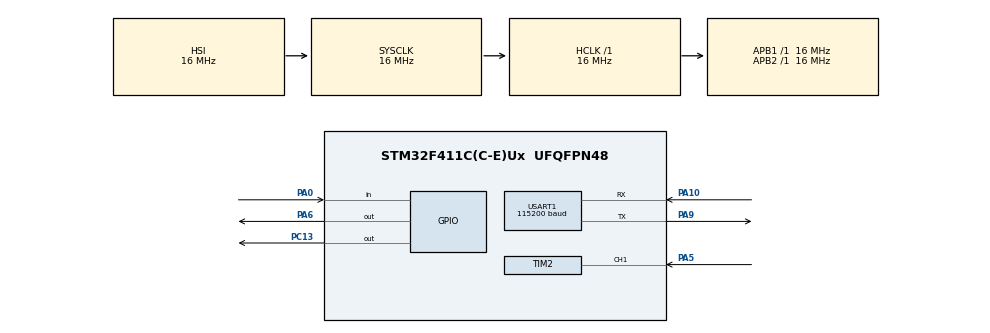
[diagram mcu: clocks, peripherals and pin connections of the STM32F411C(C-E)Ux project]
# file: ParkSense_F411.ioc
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Mcu.Family=STM32F4
Mcu.Name=STM32F411C(C-E)Ux
Mcu.Package=UFQFPN48
NVIC.PriorityGroup=NVIC_PRIORITYGROUP_4
NVIC.TIM2_IRQn=true\:0\:0\:false\:false\:true\:true\:true\:true
NVIC.USART1_IRQn=true\:0\:0\:false\:false\:true\:true\:true\:true
PA0-WKUP.GPIO_PuPd=GPIO_PULLUP
PA0-WKUP.Signal=GPIO_Input
PA10.Mode=Asynchronous
PA10.Signal=USART1_RX
PA5.Signal=S_TIM2_CH1_ETR
PA6.Signal=GPIO_Output
PA9.Mode=Asynchronous
PA9.Signal=USART1_TX
PC13-ANTI_TAMP.Signal=GPIO_Output
PH0\ -\ OSC_IN.Mode=HSE-External-Oscillator
PH0\ -\ OSC_IN.Signal=RCC_OSC_IN
PH1\ -\ OSC_OUT.Mode=HSE-External-Oscillator
PH1\ -\ OSC_OUT.Signal=RCC_OSC_OUT
ProjectManager.HeapSize=0x200
ProjectManager.StackSize=0x400
ProjectManager.TargetToolchain=STM32CubeIDE
RCC.AHBFreq_Value=16000000
RCC.APB1Freq_Value=16000000
RCC.APB2Freq_Value=16000000
RCC.CortexFreq_Value=16000000
RCC.HSE_VALUE=25000000
RCC.HSI_VALUE=16000000
RCC.LSE_VALUE=32768
RCC.SYSCLKFreq_VALUE=16000000
RCC.VCOOutputFreq_Value=192000000
SH.S_TIM2_CH1_ETR.0=TIM2_CH1,Input_Capture1_from_TI1
TIM2.Channel-Input_Capture1_from_TI1=TIM_CHANNEL_1
TIM2.Prescaler=16-1
USART1.BaudRate=115200
USART1.VirtualMode=VM_ASYNC
VP_TIM2_VS_ClockSourceINT.Mode=Internal
board=custom

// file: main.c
/* USER CODE BEGIN Header */
/**
  ******************************************************************************
  * @file           : main.c
  * @brief          : Main program body
  ******************************************************************************
  * @attention
  *
  * Copyright (c) 2024 STMicroelectronics.
  * All rights reserved.
  *
  * This software is licensed under terms that can be found in the LICENSE file
  * in the root directory of this software component.
  * If no LICENSE file comes with this software, it is provided AS-IS.
  *
  ******************************************************************************
  */
/* USER CODE END Header */
#include "main.h"

/* USER CODE BEGIN Includes */
#include "ESP8266.h"
#include "HCSR04.h"
/* USER CODE END Includes */

TIM_HandleTypeDef htim2;

UART_HandleTypeDef huart1;

/* USER CODE BEGIN PV */
float distance = 0.0;
uint8_t read_flag = TRUE, captured = FALSE;
uint8_t output, output_old;
uint32_t time;
/* USER CODE END PV */

void SystemClock_Config(void);
static void MX_GPIO_Init(void);
static void MX_TIM2_Init(void);
static void MX_USART1_UART_Init(void);

int main(void)
{

  /* MCU Configuration--------------------------------------------------------*/

  /* Reset of all peripherals, Initializes the Flash interface and the Systick. */
  HAL_Init();

  /* Configure the system clock */
  SystemClock_Config();

  /* Initialize all configured peripherals */
  MX_GPIO_Init();
  MX_TIM2_Init();
  MX_USART1_UART_Init();
  /* USER CODE BEGIN 2 */

  // Apagar LED inicialmente
  HAL_GPIO_WritePin(LED_PORT, LED_PIN, TRUE);

  // Iniciar timer ultrasonidos
  HCSR04_Init(&htim2);

  // Configurar ESP8266
  ESP8266_InitAsAP(&huart1);

  // Avisar de configuracion completada con LED
  for(int i = 0; i < 10; i++)
  {
	  HAL_GPIO_WritePin(LED_PORT, LED_PIN, i%2);
	  HAL_Delay(100);
  }

  /* USER CODE END 2 */

  /* Infinite loop */
  /* USER CODE BEGIN WHILE */
  while (1)
  {
	  // Mandar pulso de lectura si no se esta esperando el echo
	  if(read_flag) HCSR04_Read(&htim2);

	  // Comprobar si el estado ha cambiado
	  output_old = output;
//	  output = !HAL_GPIO_ReadPin(GPIOA, GPIO_PIN_0); // Botón placa
	  output = (uint8_t)(distance < DISTANCE_THRESHOLD); // Comparar distancia con umbral

	  // Si el estado ha cambiado iniciar timer de histeresis
	  if(output != output_old) time = HAL_GetTick();

	  if ((HAL_GetTick() - time) > HISTERESIS)
	  {
		  time = HAL_GetTick();
		  ESP8266_SendByte(output, &huart1);
	  }
	  // Encender LED en función del estado
	  HAL_GPIO_WritePin(LED_PORT, LED_PIN, !output);

    /* USER CODE END WHILE */

  }
}

void SystemClock_Config(void)
{
  RCC_OscInitTypeDef RCC_OscInitStruct = {0};
  RCC_ClkInitTypeDef RCC_ClkInitStruct = {0};

  /** Configure the main internal regulator output voltage
  */
  __HAL_RCC_PWR_CLK_ENABLE();
  __HAL_PWR_VOLTAGESCALING_CONFIG(PWR_REGULATOR_VOLTAGE_SCALE1);

  /** Initializes the RCC Oscillators according to the specified parameters
  * in the RCC_OscInitTypeDef structure.
  */
  RCC_OscInitStruct.OscillatorType = RCC_OSCILLATORTYPE_HSI;
  RCC_OscInitStruct.HSIState = RCC_HSI_ON;
  RCC_OscInitStruct.HSICalibrationValue = RCC_HSICALIBRATION_DEFAULT;
  RCC_OscInitStruct.PLL.PLLState = RCC_PLL_NONE;
  if (HAL_RCC_OscConfig(&RCC_OscInitStruct) != HAL_OK)
  {
    Error_Handler();
  }

  /** Initializes the CPU, AHB and APB buses clocks
  */
  RCC_ClkInitStruct.ClockType = RCC_CLOCKTYPE_HCLK|RCC_CLOCKTYPE_SYSCLK
                              |RCC_CLOCKTYPE_PCLK1|RCC_CLOCKTYPE_PCLK2;
  RCC_ClkInitStruct.SYSCLKSource = RCC_SYSCLKSOURCE_HSI;
  RCC_ClkInitStruct.AHBCLKDivider = RCC_SYSCLK_DIV1;
  RCC_ClkInitStruct.APB1CLKDivider = RCC_HCLK_DIV1;
  RCC_ClkInitStruct.APB2CLKDivider = RCC_HCLK_DIV1;

  if (HAL_RCC_ClockConfig(&RCC_ClkInitStruct, FLASH_LATENCY_0) != HAL_OK)
  {
    Error_Handler();
  }
}

static void MX_TIM2_Init(void)
{

  TIM_ClockConfigTypeDef sClockSourceConfig = {0};
  TIM_MasterConfigTypeDef sMasterConfig = {0};
  TIM_IC_InitTypeDef sConfigIC = {0};

  /* USER CODE BEGIN TIM2_Init 1 */
  __HAL_RCC_PWR_CLK_ENABLE();
  __HAL_RCC_TIM2_CLK_ENABLE();
  /* USER CODE END TIM2_Init 1 */
  htim2.Instance = TIM2;
  htim2.Init.Prescaler = 16-1;
  htim2.Init.CounterMode = TIM_COUNTERMODE_UP;
  htim2.Init.Period = 4294967295;
  htim2.Init.ClockDivision = TIM_CLOCKDIVISION_DIV1;
  htim2.Init.AutoReloadPreload = TIM_AUTORELOAD_PRELOAD_DISABLE;
  if (HAL_TIM_Base_Init(&htim2) != HAL_OK)
  {
    Error_Handler();
  }
  sClockSourceConfig.ClockSource = TIM_CLOCKSOURCE_INTERNAL;
  if (HAL_TIM_ConfigClockSource(&htim2, &sClockSourceConfig) != HAL_OK)
  {
    Error_Handler();
  }
  if (HAL_TIM_IC_Init(&htim2) != HAL_OK)
  {
    Error_Handler();
  }
  sMasterConfig.MasterOutputTrigger = TIM_TRGO_RESET;
  sMasterConfig.MasterSlaveMode = TIM_MASTERSLAVEMODE_DISABLE;
  if (HAL_TIMEx_MasterConfigSynchronization(&htim2, &sMasterConfig) != HAL_OK)
  {
    Error_Handler();
  }
  sConfigIC.ICPolarity = TIM_INPUTCHANNELPOLARITY_RISING;
  sConfigIC.ICSelection = TIM_ICSELECTION_DIRECTTI;
  sConfigIC.ICPrescaler = TIM_ICPSC_DIV1;
  sConfigIC.ICFilter = 0;
  if (HAL_TIM_IC_ConfigChannel(&htim2, &sConfigIC, TIM_CHANNEL_1) != HAL_OK)
  {
    Error_Handler();
  }

}

static void MX_USART1_UART_Init(void)
{

  huart1.Instance = USART1;
  huart1.Init.BaudRate = 115200;
  huart1.Init.WordLength = UART_WORDLENGTH_8B;
  huart1.Init.StopBits = UART_STOPBITS_1;
  huart1.Init.Parity = UART_PARITY_NONE;
  huart1.Init.Mode = UART_MODE_TX_RX;
  huart1.Init.HwFlowCtl = UART_HWCONTROL_NONE;
  huart1.Init.OverSampling = UART_OVERSAMPLING_16;
  if (HAL_UART_Init(&huart1) != HAL_OK)
  {
    Error_Handler();
  }

}

static void MX_GPIO_Init(void)
{
  GPIO_InitTypeDef GPIO_InitStruct = {0};

  /* GPIO Ports Clock Enable */
  __HAL_RCC_GPIOC_CLK_ENABLE();
  __HAL_RCC_GPIOH_CLK_ENABLE();
  __HAL_RCC_GPIOA_CLK_ENABLE();

  /*Configure GPIO pin Output Level */
  HAL_GPIO_WritePin(GPIOC, GPIO_PIN_13, GPIO_PIN_RESET);

  /*Configure GPIO pin Output Level */
  HAL_GPIO_WritePin(GPIOA, GPIO_PIN_6, GPIO_PIN_RESET);

  /*Configure GPIO pin : PC13 */
  GPIO_InitStruct.Pin = GPIO_PIN_13;
  GPIO_InitStruct.Mode = GPIO_MODE_OUTPUT_PP;
  GPIO_InitStruct.Pull = GPIO_NOPULL;
  GPIO_InitStruct.Speed = GPIO_SPEED_FREQ_LOW;
  HAL_GPIO_Init(GPIOC, &GPIO_InitStruct);

  /*Configure GPIO pin : PA0 */
  GPIO_InitStruct.Pin = GPIO_PIN_0;
  GPIO_InitStruct.Mode = GPIO_MODE_INPUT;
  GPIO_InitStruct.Pull = GPIO_PULLUP;
  HAL_GPIO_Init(GPIOA, &GPIO_InitStruct);

  /*Configure GPIO pin : PA6 */
  GPIO_InitStruct.Pin = GPIO_PIN_6;
  GPIO_InitStruct.Mode = GPIO_MODE_OUTPUT_PP;
  GPIO_InitStruct.Pull = GPIO_NOPULL;
  GPIO_InitStruct.Speed = GPIO_SPEED_FREQ_LOW;
  HAL_GPIO_Init(GPIOA, &GPIO_InitStruct);

}

void Error_Handler(void)
{
  __disable_irq();
  while (1)
  {
  }
}
